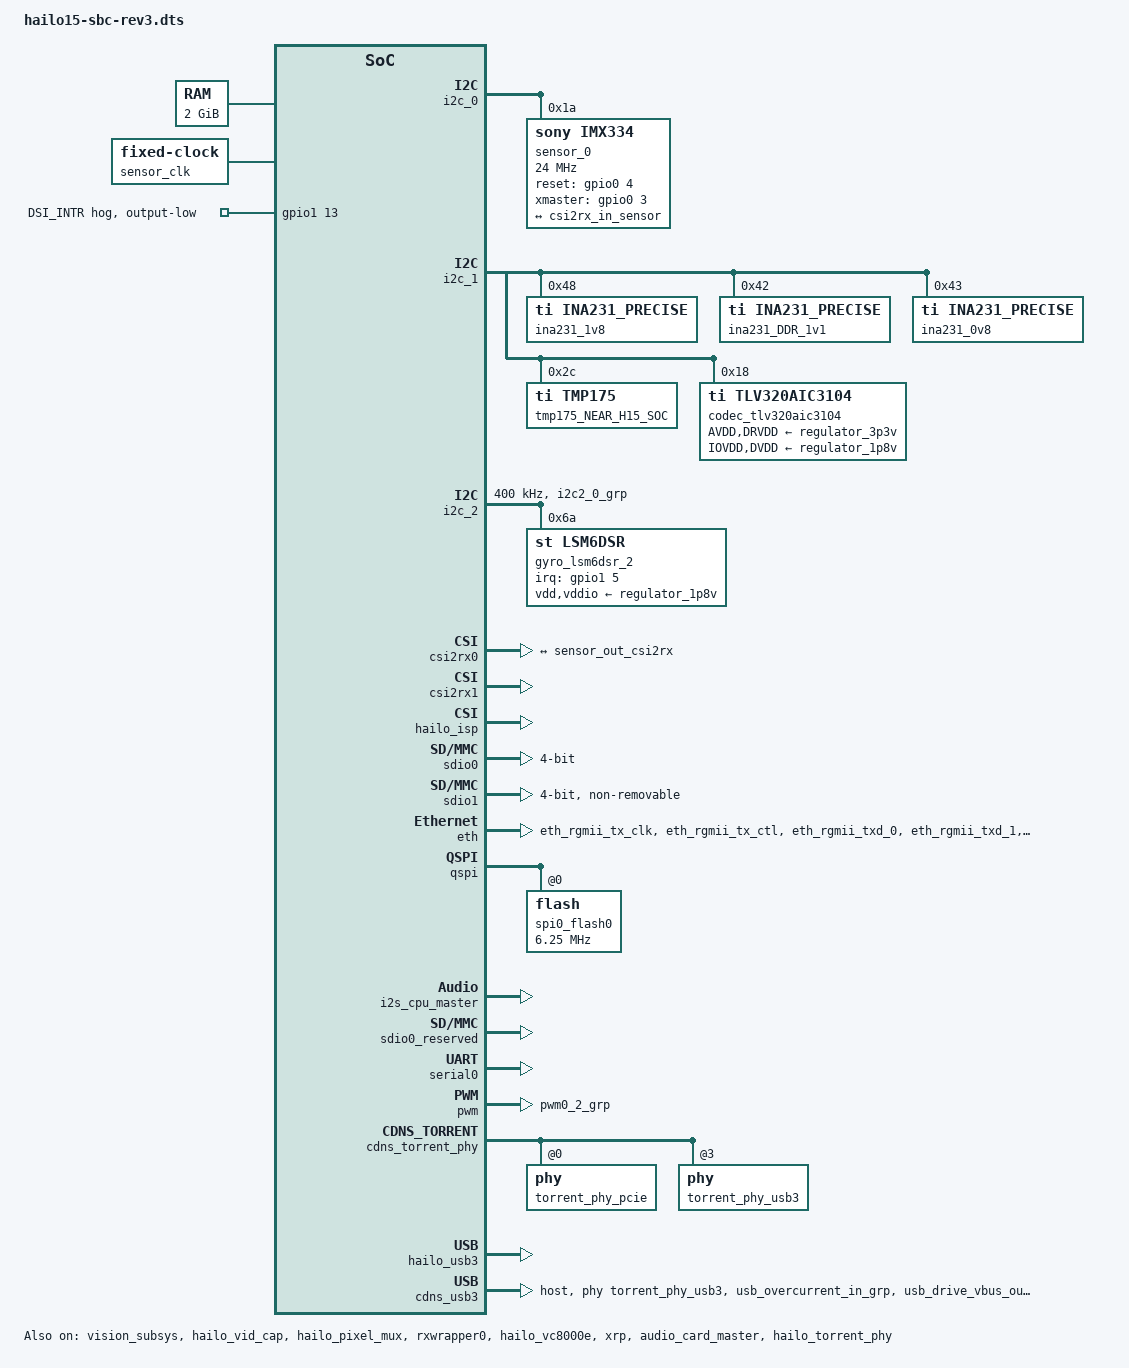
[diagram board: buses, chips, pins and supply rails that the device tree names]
// SPDX-License-Identifier:     GPL-2.0
/*
* Copyright (c) 2019-2025 Hailo Technologies Ltd. All rights reserved.
*/

/dts-v1/;
#include "hailo15-base.dtsi"
#include <dt-bindings/gpio/gpio.h>

/ {
    memory {
        device_type = "memory";
        reg = <0x00000000 0x80000000 0x00000000 0x80000000>;
    };
};

&i2c_0 {
    status = "ok";

    sensor_0: camera-sensor@1a {
        status = "ok";
        compatible = "sony,imx334", "sony,imx675", "sony,imx678", "sony,imx715";
        reg = <0x1a>;
        clocks = <&sensor_clk>;
        clock-names = "inclk";
        clock-frequency = <24000000>;
        csi-id = <0>;
        reset-gpios = <&gpio0 4 GPIO_ACTIVE_HIGH>;
        xmaster-gpios = <&gpio0 3 GPIO_ACTIVE_HIGH>;
        port {
            sensor_out_csi2rx: endpoint {
                data-lanes = <1 2 3 4>;
                remote-endpoint = <&csi2rx_in_sensor>;
                link-frequencies = /bits/ 64 <891000000 1440000000 1782000000>;
            };
        };
     };
};

&i2c_1 {
    status = "ok";
    ina231_1v8: 1v8@48 {
        compatible = "ti,ina231_precise";
        reg = <0x48>;
        shunt-resistor = <100000>;
        max-current = <260>;
    };
    ina231_DDR_1v1: DDR_1v1@42 {
        compatible = "ti,ina231_precise";
        reg = <0x42>;
        shunt-resistor = <50000>;
        max-current = <170>;
    };
    ina231_0v8: 0v8@43 {
        compatible = "ti,ina231_precise";
        reg = <0x43>;
        shunt-resistor = <1000>;
        max-current = <11755>;
    };
/*     ina231_0v6: 0v6@45 {
       compatible = "ti,ina231_precise";
       reg = <0x45>;
       shunt-resistor = <50000>;
       max-current = <5>;
   };*/

    tmp175_NEAR_H15_SOC: NEAR_H15_SOC@2c {
        compatible = "ti,tmp175";
        reg = <0x2c>;
    };

    codec_tlv320aic3104: tlv320aic3104@18 {
        #sound-dai-cells = <0>;
        compatible = "ti,tlv320aic3104";
        reg = <0x18>;
        ai3x-source-clk = "bclk";
        ai3x-micbias-vg = <2>;
        /* Regulators */
        AVDD-supply = <&regulator_3p3v>;
        IOVDD-supply = <&regulator_1p8v>;
        DRVDD-supply = <&regulator_3p3v>;
        DVDD-supply = <&regulator_1p8v>;
    };

    regulator_0p8v: regulator-0p8v@43 {
       status = "disabled";
       compatible = "ti,tps62872";
       reg = <0x43>;
       regulator-name = "+0.8V";
       regulator-min-microvolt = <400000>;
       regulator-max-microvolt = <1037500>;
       regulator-initial-mode = <2>;
   };
};

 &i2c_2 {
    status = "okay";
    clock-frequency = <400000>;
    pinctrl-names = "default";
    pinctrl-0 = <&pinctrl_i2c2>;
    gyro_lsm6dsr_2: lsm6dsr_2@68 {
        status = "okay";
        compatible = "st,lsm6dsr";
        reg = <0x6a>;
        vdd-supply = <&regulator_1p8v>;
        vddio-supply = <&regulator_1p8v>;
        interrupt-parent = <&gpio1>;
        interrupts = <5 IRQ_TYPE_LEVEL_HIGH>;
        pinctrl-names = "default";
        pinctrl-0 = <&pinctrl_gpio21>;
    };
};

&csi2rx0 {
    status = "ok";
    ports {
        port@0 {
            csi2rx_in_sensor: endpoint {
                remote-endpoint = <&sensor_out_csi2rx>;
            };
        };
    };
};

&vision_subsys {
    status = "okay";
};

&csi2rx1 {
    status = "ok";
};

&hailo_vid_cap {
    status = "ok";
};

&hailo_isp {
    status = "ok";
};

&hailo_pixel_mux {
    status = "ok";
};

&rxwrapper0 {
    status = "ok";
};

&hailo_vc8000e {
    status = "ok";
};

&vc8000e_reserved {
    status = "ok";
};

&xrp {
    status = "okay";
};

&xrp_reserved {
    status = "okay";
};

&sdio0 {
   status = "okay";
   bus-width = <4>;
   broken-cd;
   sd-vsel-gpio = <&gpio1 1 GPIO_ACTIVE_HIGH>;
   sd-vsel-polarity-high;
    phy-config {
        card-is-emmc = <0x0>;
        cmd-pad-values = <0x1 0x3 0x1 0x1>; // txslew_ctrl_n, txslew_ctrl_p, weakpull_enable, rxsel
            dat-pad-values = <0x1 0x3 0x1 0x1>; // txslew_ctrl_n, txslew_ctrl_p, weakpull_enable, rxsel
            rst-pad-values = <0x1 0x3 0x1 0x1>; // txslew_ctrl_n, txslew_ctrl_p, weakpull_enable, rxsel
            clk-pad-values = <0x1 0x3 0x0 0x1>; // txslew_ctrl_n, txslew_ctrl_p, weakpull_enable, rxsel
            sdclkdl-cnfg = <0x0 0x32>; //extdly_en, cckdl_dc
            drive-strength = <0xC 0xC>; //pad_sp, pad_sn	
    };
};
&sdio1 {
    status = "okay";
    non-removable;
    bus-width = <4>;
    phy-config {
        card-is-emmc = <0x1>;
            cmd-pad-values = <0x2 0x2 0x1 0x1>; // txslew_ctrl_n, txslew_ctrl_p, weakpull_enable, rxsel
            dat-pad-values = <0x2 0x2 0x1 0x1>; // txslew_ctrl_n, txslew_ctrl_p, weakpull_enable, rxsel
            rst-pad-values = <0x2 0x2 0x1 0x1>; // txslew_ctrl_n, txslew_ctrl_p, weakpull_enable, rxsel
            clk-pad-values = <0x2 0x2 0x0 0x0>; // txslew_ctrl_n, txslew_ctrl_p, weakpull_enable, rxsel
            sdclkdl-cnfg = <0x0 0x32>; //extdly_en, cckdl_dc
            drive-strength = <0xC 0xC>; //pad_sp, pad_sn
        };
};

&eth {
    status = "ok";
    pinctrl-names = "default";
    pinctrl-0 = <&pinctrl_eth>;
};

&qspi {
    status = "ok";

    spi0_flash0: flash@0 {
        /* values for MT25QU01G */
        spi-max-frequency = <6250000>; /* 90Mhz in DTR, 166Mhz in STR */
        cdns,read-delay = <7>;
        cdns,tshsl-ns = <30>;
        cdns,tsd2d-ns = <30>;
        cdns,tchsh-ns = <5>;
        cdns,tslch-ns = <3>;
    };
};

&i2s_cpu_master {
    status = "okay";
    rx-sample-pace-pattern-repetitions = <2>;
    rx-sample-pace = <64 64 64>;
    rx-sample-cmp-to = "prev-val";
    tx-sample-offset = <81>;
    tx-sample-pace = <63>;
};

&audio_card_master {
    status = "ok";
    simple-audio-card,bitclock-master = <&cpu_dai_master>;
    simple-audio-card,frame-master = <&cpu_dai_master>;

    cpu_dai_master: simple-audio-card,cpu {
        sound-dai = <&i2s_cpu_master>;
        system-clock-frequency = <1562500>;
        system-clock-direction-out;
    };
    codec_dai_master: simple-audio-card,codec {
        sound-dai = <&codec_tlv320aic3104>;
        system-clock-frequency = <1562500>;
    };
};

&audio_card_slave_tx {
    simple-audio-card,bitclock-master = <&codec_dai_tx>;
    simple-audio-card,frame-master = <&codec_dai_tx>;

    cpu_dai_tx: simple-audio-card,cpu {
        sound-dai = <&i2s_cpu_slave_tx>;
        system-clock-frequency = <12288000>;
    };
    codec_dai_tx: simple-audio-card,codec {
        sound-dai = <&codec_tlv320aic3104>;
        system-clock-frequency = <12288000>;
    };
};

&audio_card_slave_rx {
    simple-audio-card,bitclock-master = <&codec_dai_rx>;
    simple-audio-card,frame-master = <&codec_dai_rx>;

    cpu_dai_rx: simple-audio-card,cpu {
        sound-dai = <&i2s_cpu_slave_rx>;
        system-clock-frequency = <12288000>;
    };
    codec_dai_rx: simple-audio-card,codec {
        sound-dai = <&codec_tlv320aic3104>;
        system-clock-frequency = <12288000>;
    };
};

/ {
    sensor_clk: sensor_clk {
        compatible = "fixed-clock";
        #clock-cells = <0>;
        clock-frequency = <24000000>;
    };
};

&sdio0_reserved {
    status = "ok";
};

&serial0 {
 status = "ok";
};

&pwm {
    status = "okay";
    hailo15_pwm,supported-channels = <0 1>;
    pinctrl-names = "default";
    pinctrl-0 = <&pinctrl_pwm0>;
};

&pinctrl {

    pinctrl_eth: eth {
        pins = "eth_rgmii_tx_clk",
               "eth_rgmii_tx_ctl",
               "eth_rgmii_txd_0",
               "eth_rgmii_txd_1",
               "eth_rgmii_txd_2",
               "eth_rgmii_txd_3";
        drive-strength = <2>;
    };

    pinctrl_i2c2: i2c2 {
        function = "i2c2";
        groups = "i2c2_0_grp";
    };

    pinctrl_usb_overcurrent_n_in: pinctrl_usb_overcurrent_n_in {
        function = "usb_overcurrent_in";
        groups = "usb_overcurrent_in_grp";
    };

    pinctrl_usb_drive_vbus_out: pinctrl_usb_drive_vbus_out {
        function = "usb_drive_vbus_out";
        groups = "usb_drive_vbus_out_2_grp";
    };

    pinctrl_gpio21: gpio21 {
        function = "gpio";
        groups = "gpio21_grp";
    };

    pinctrl_pwm0: pwm0 {
        function = "pwm0";
        groups = "pwm0_2_grp";
    };
};

#define GPIO_LINE_NAMES \
    "gpio_in_out_0",            "gpio_in_out_1",            "DSI_RST",                  "gpio_in_out_3", \
    "cam0_reset_n",             "cam1_reset_n",             "i2c2_sda_in_out",          "i2c2_scl_out", \
    "gpio_in_out_8",            "sdio0_gp_in",              "sdio0_cd_in",              "usb_overcurrent_n_in", \
    "usb_drive_vbus_out",       "sdio1_gp_in",              "sdio1_cd_in_n",            "PCIe_mperst_out", \
    \
    "gpio_in_out_16",           "sdcard_vdd_sel",           "timer_ext_in0",             "timer_ext_in1", \
    "shut_down_out",            "user_LED",                 "gpio_in_out_22",            "gpio_in_out_23", \
    "i2c2_current_src_en_out",  "i2c0_current_src_en_out",  "i2c1_current_src_en_out",   "pwm_0", \
    "pwm_1",                    "DSI_INTR",                 "uart0_cts_pad_in",          "uart0_rts_pad_out"

&gpio0 {
    gpio-ranges = <&pinctrl 0 0 16>;

    gpio-line-names = GPIO_LINE_NAMES;
};

&gpio1 {
    gpio-ranges = <&pinctrl 0 16 16>;

    gpio-line-names = GPIO_LINE_NAMES;

    pin_DSI_INTR {
        gpio-hog;
        gpios = <13 GPIO_ACTIVE_HIGH>;
        output-low;
        line-name = "DSI_INTR";
    };
};

&hailo_torrent_phy {
    status = "okay";
    usb-lane = <3>;
    usb-lane-pma-pll-full-rate-divider = <PCI_PMA_PLL_FULL_RATE_CLK_DIVIDER_4>;
    lanes-config = <PCI_PHY_LINK_LANES_CFG__2x1_PLUS_1x2__MASTER_LANES_LN0_LN2_LN3>;
};

&cdns_torrent_phy {
    torrent_phy_pcie: phy@0 {
        reg = <0>;
        resets = <&scmi_reset HAILO15_SCMI_RESET_IDX_PCIE_PHY_LANE_0>, <&scmi_reset HAILO15_SCMI_RESET_IDX_PCIE_PHY_LANE_1>;
        #phy-cells = <0>;
        cdns,phy-type = <PHY_TYPE_PCIE>;
        cdns,num-lanes = <2>;
    };
    torrent_phy_usb3: phy@3 {
        reg = <3>;
        resets = <&scmi_reset HAILO15_SCMI_RESET_IDX_PCIE_PHY_LANE_3>;
        #phy-cells = <0>;
        cdns,phy-type = <PHY_TYPE_USB3>;
        cdns,num-lanes = <1>;
        cdns,ssc-mode = <TORRENT_SERDES_NO_SSC>;
    };
};

&hailo_usb3 {
    status = "okay";
};

&cdns_usb3 {
    dr_mode = "host";
    phys = <&torrent_phy_usb3>;
    phy-names = "cdns3,usb3-phy";
    pinctrl-names = "default";
    pinctrl-0 = <&pinctrl_usb_overcurrent_n_in>, <&pinctrl_usb_drive_vbus_out>;
};
